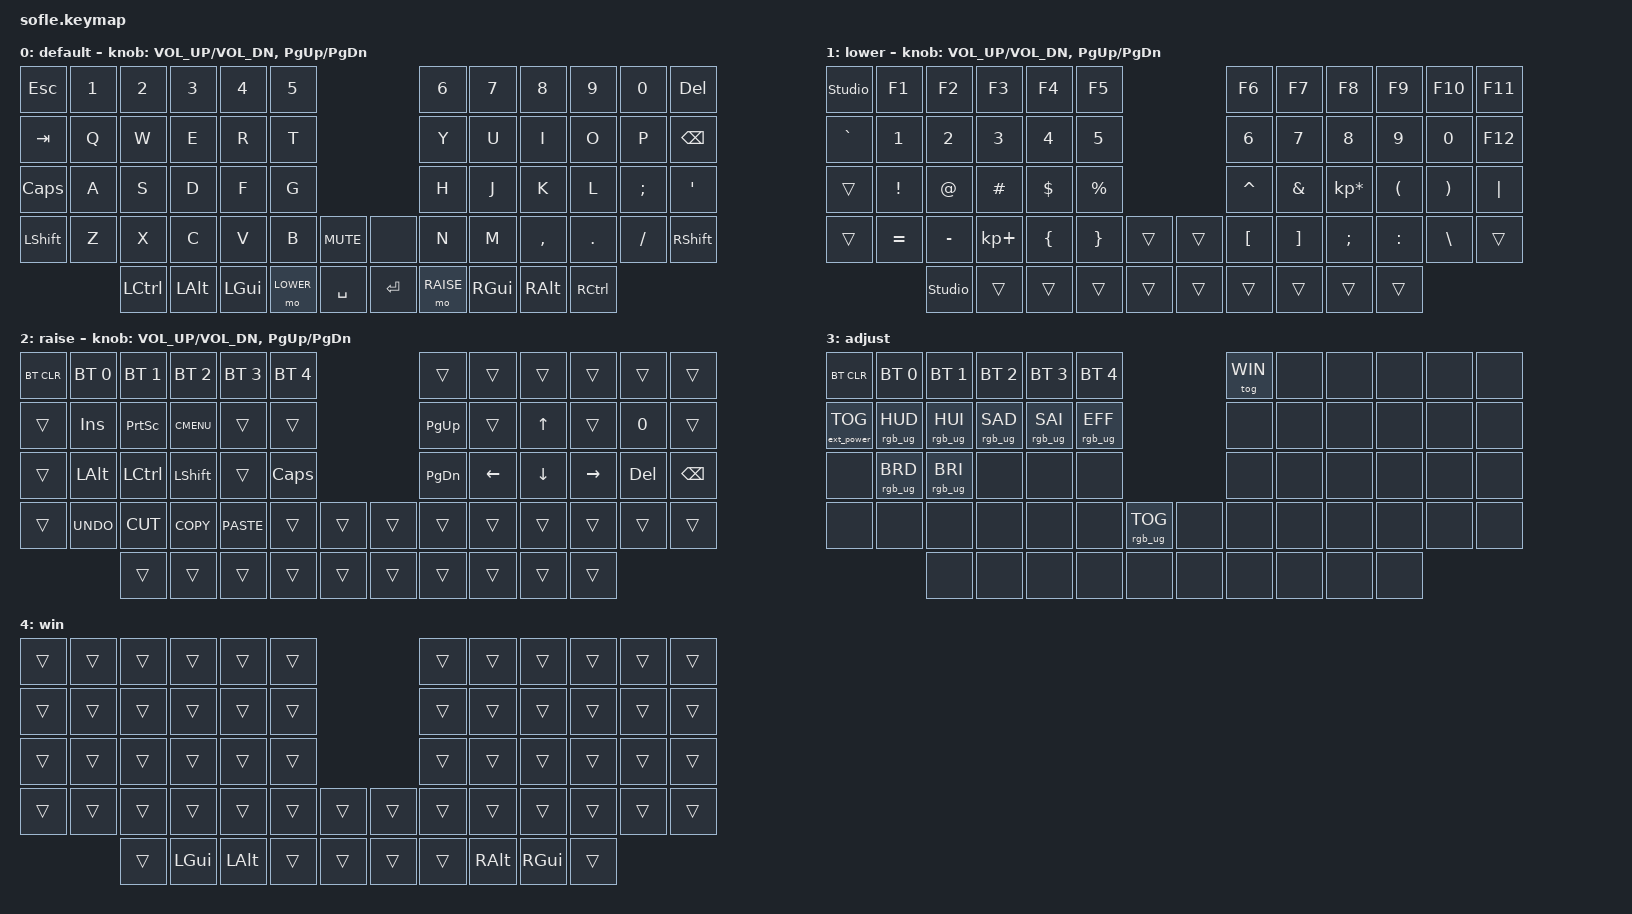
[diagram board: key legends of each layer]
/*
 * Copyright (c) 2020 The ZMK Contributors
 *
 * SPDX-License-Identifier: MIT
 */

#include <behaviors.dtsi>
#include <dt-bindings/zmk/bt.h>
#include <dt-bindings/zmk/ext_power.h>
#include <dt-bindings/zmk/keys.h>
#include <dt-bindings/zmk/rgb.h>

#define BASE 0
#define LOWER 1
#define RAISE 2
#define ADJUST 3
#define WIN 4

/ {
    // Activate ADJUST layer by pressing raise and lower

    conditional_layers {
        compatible = "zmk,conditional-layers";

        adjust_layer {
            if-layers = <LOWER RAISE>;
            then-layer = <ADJUST>;
        };
    };

    // ADJUST normally needs LOWER and RAISE, both on the bottom row. Holding
    // the two top-left keys together reaches it as well, so the underglow and
    // bluetooth controls stay usable while that row is misbehaving.
    combos {
        compatible = "zmk,combos";

        combo_adjust {
            timeout-ms = <50>;
            key-positions = <0 12>;
            bindings = <&mo ADJUST>;
            layers = <BASE>;
        };
    };

    keymap {
        compatible = "zmk,keymap";

        default_layer {
            label = "default";

            // ------------------------------------------------------------------------------------------------------------
            // |  ESC  |  1  |  2  |  3   |  4   |  5   |                   |  6   |  7    |  8    |  9   |   0   |  DEL  |
            // |  TAB  |  Q  |  W  |  E   |  R   |  T   |                   |  Y   |  U    |  I    |  O   |   P   | BKSPC |
            // | CAPS  |  A  |  S  |  D   |  F   |  G   |                   |  H   |  J    |  K    |  L   |   ;   |   '   |
            // | SHIFT |  Z  |  X  |  C   |  V   |  B   |  MUTE  |  |       |  N   |  M    |  ,    |  .   |   /   | SHIFT |
            //               | CTRL| ALT  | GUI  | LOWER| SPACE  |  | ENTER | RAISE| GUI   | ALT   | CTRL |

            bindings = <
&kp ESC    &kp N1  &kp N2    &kp N3    &kp N4     &kp N5                              &kp N6     &kp N7     &kp N8     &kp N9    &kp N0    &kp DELETE
&kp TAB    &kp Q   &kp W     &kp E     &kp R      &kp T                               &kp Y      &kp U      &kp I      &kp O     &kp P     &kp BSPC
&kp CAPS   &kp A   &kp S     &kp D     &kp F      &kp G                               &kp H      &kp J      &kp K      &kp L     &kp SEMI  &kp SQT
&kp LSHFT  &kp Z   &kp X     &kp C     &kp V      &kp B      &kp C_MUTE    &none      &kp N      &kp M      &kp COMMA  &kp DOT   &kp FSLH  &kp RSHFT
                   &kp LCTRL  &kp LALT  &kp LGUI  &mo LOWER  &kp SPACE     &kp RET    &mo RAISE  &kp RGUI  &kp RALT   &kp RCTRL
            >;

            sensor-bindings = <&inc_dec_kp C_VOL_UP C_VOL_DN &inc_dec_kp PG_UP PG_DN>;
        };

        lower_layer {
            label = "lower";

            // TODO: Some binds are waiting for shifted keycode support.
            // ------------------------------------------------------------------------------------------------------------
            // |       |  F1 |  F2 |  F3  |  F4  |  F5  |                   |  F6  |  F7   |  F8   |  F9  |  F10  |  F11  |
            // |   `   |  1  |  2  |  3   |  4   |  5   |                   |  6   |  7    |  8    |  9   |   0   |  F12  |
            // |       |  !  |  @  |  #   |  $   |  %   |                   |  ^   |  &    |  *    |  (   |   )   |   |   |
            // |       |  =  |  -  |  +   |  {   |  }   |        |  |       |  [   |  ]    |  ;    |  :   |   \   |       |
            //               |     |      |      |      |        |  |       |      |       |       |      |

            bindings = <
&studio_unlock     &kp F1     &kp F2     &kp F3       &kp F4    &kp F5                       &kp F6     &kp F7    &kp F8           &kp F9     &kp F10   &kp F11
&kp GRAVE  &kp N1     &kp N2     &kp N3       &kp N4    &kp N5                       &kp N6     &kp N7    &kp N8           &kp N9     &kp N0    &kp F12
&trans     &kp EXCL   &kp AT     &kp HASH     &kp DLLR  &kp PRCNT                    &kp CARET  &kp AMPS  &kp KP_MULTIPLY  &kp LPAR   &kp RPAR  &kp PIPE
&trans     &kp EQUAL  &kp MINUS  &kp KP_PLUS  &kp LBRC  &kp RBRC   &trans    &trans  &kp LBKT   &kp RBKT  &kp SEMI         &kp COLON  &kp BSLH  &trans
                      &studio_unlock     &trans       &trans    &trans     &trans    &trans  &trans     &trans    &trans           &trans
            >;

            sensor-bindings = <&inc_dec_kp C_VOL_UP C_VOL_DN &inc_dec_kp PG_UP PG_DN>;
        };

        raise_layer {
            label = "raise";

            // ------------------------------------------------------------------------------------------------------------
            // | BTCLR | BT1  | BT2  |  BT3  |  BT4  |  BT5 |                |      |      |       |      |       |       |
            // |       | INS  | PSCR | GUI   |       |      |                | PGUP |      |   ^   |      |       |       |
            // |       | ALT  | CTRL | SHIFT |       | CAPS |                | PGDN |   <- |   v   |  ->  |  DEL  | BKSPC |
            // |       | UNDO | CUT  | COPY  | PASTE |      |      |  |      |      |      |       |      |       |       |
            //                |      |       |       |      |      |  |      |      |      |       |      |

            bindings = <
&bt BT_CLR  &bt BT_SEL 0  &bt BT_SEL 1  &bt BT_SEL 2  &bt BT_SEL 3  &bt BT_SEL 4                    &trans     &trans    &trans    &trans     &trans   &trans
&trans      &kp INS       &kp PSCRN     &kp K_CMENU   &trans        &trans                          &kp PG_UP  &trans    &kp UP    &trans     &kp N0   &trans
&trans      &kp LALT      &kp LCTRL     &kp LSHFT     &trans        &kp CLCK                        &kp PG_DN  &kp LEFT  &kp DOWN  &kp RIGHT  &kp DEL  &kp BSPC
&trans      &kp K_UNDO    &kp K_CUT     &kp K_COPY    &kp K_PASTE   &trans        &trans    &trans  &trans     &trans    &trans    &trans     &trans   &trans
                          &trans        &trans        &trans        &trans        &trans    &trans  &trans     &trans    &trans    &trans
            >;

            sensor-bindings = <&inc_dec_kp C_VOL_UP C_VOL_DN &inc_dec_kp PG_UP PG_DN>;
        };

        adjust_layer {
            // ----------------------------------------------------------------------------------------------------------------------------
            // | BTCLR  |  BT1    |  BT2    |   BT3   |   BT4   |   BT5   |                  |      |      |       |      |       |       |
            // | EXTPWR | RGB_HUD | RGB_HUI | RGB_SAD | RGB_SAI | RGB_EFF |                  |      |      |       |      |       |       |
            // |        | RGB_BRD | RGB_BRI |         |         |         |                  |      |      |       |      |       |       |
            // |        |         |         |         |         |         | RGB_TOG | |      |      |      |       |      |       |       |
            //                    |         |         |         |         |         | |      |      |      |       |      |

            label = "adjust";
            bindings = <
&bt BT_CLR         &bt BT_SEL 0     &bt BT_SEL 1     &bt BT_SEL 2     &bt BT_SEL 3     &bt BT_SEL 4                               &tog WIN  &none  &none  &none  &none  &none
&ext_power EP_TOG  &rgb_ug RGB_HUD  &rgb_ug RGB_HUI  &rgb_ug RGB_SAD  &rgb_ug RGB_SAI  &rgb_ug RGB_EFF                            &none  &none  &none  &none  &none  &none
&none              &rgb_ug RGB_BRD  &rgb_ug RGB_BRI  &none            &none            &none                                      &none  &none  &none  &none  &none  &none
&none              &none            &none            &none            &none            &none            &rgb_ug RGB_TOG    &none  &none  &none  &none  &none  &none  &none
                                    &none            &none            &none            &none            &none              &none  &none  &none  &none  &none
            >;
        };

        win_layer {
            // Toggle with the WIN key in the ADJUST layer (LOWER+RAISE, top-right key).
            // Everything is transparent except the bottom-row ALT/GUI swap. Ctrl stays
            // outermost on both OSes; the difference is which key sits closest to
            // Space: Cmd on macOS (the BASE layer), Alt on Windows (this layer), with
            // Win/Gui in the middle here instead of Option.
            // ------------------------------------------------------------------------------------------------------------
            // |       |     |     |      |      |      |                   |      |       |       |      |       |       |
            // |       |     |     |      |      |      |                   |      |       |       |      |       |       |
            // |       |     |     |      |      |      |                   |      |       |       |      |       |       |
            // |       |     |     |      |      |      |        |  |       |      |       |       |      |       |       |
            //               |CTRL | GUI  | ALT  |      |        |  |       |      | ALT   | GUI   | CTRL |

            label = "win";
            bindings = <
&trans  &trans  &trans  &trans  &trans  &trans                          &trans  &trans  &trans  &trans  &trans  &trans
&trans  &trans  &trans  &trans  &trans  &trans                          &trans  &trans  &trans  &trans  &trans  &trans
&trans  &trans  &trans  &trans  &trans  &trans                          &trans  &trans  &trans  &trans  &trans  &trans
&trans  &trans  &trans  &trans  &trans  &trans  &trans     &trans       &trans  &trans  &trans  &trans  &trans  &trans
                &trans  &kp LGUI  &kp LALT  &trans  &trans     &trans  &trans  &kp RALT  &kp RGUI  &trans
            >;
        };
    };
};
